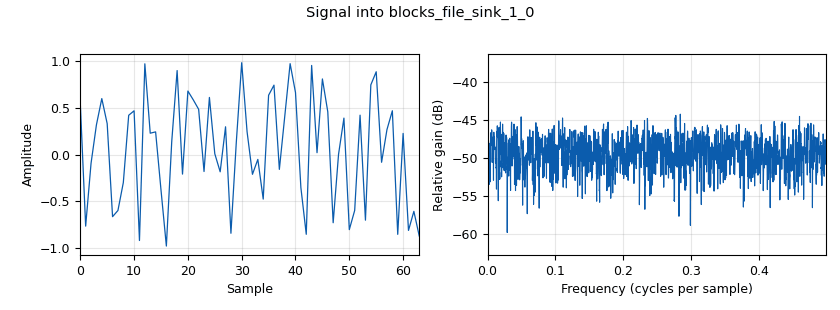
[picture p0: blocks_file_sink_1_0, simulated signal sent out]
options:
  parameters:
    author: ipovaric
    generate_options: qt_gui
    id: Lab6Test
    output_language: python
    title: myprog
  states: {}

blocks:
- name: samp_rate
  id: variable
  parameters:
    value: '32000'
  states: {}
- name: variable_0
  id: variable
  parameters:
    value: '0'
  states: {}
- name: analog_noise_source_x_0
  id: analog_noise_source_x
  parameters:
    amp: '1'
    noise_type: analog.GR_UNIFORM
    seed: '0'
    type: float
  states: {}
- name: blocks_file_sink_1
  id: blocks_file_sink
  parameters:
    file: received.txt
    type: byte
  states: {}
- name: blocks_file_sink_1_0
  id: blocks_file_sink
  parameters:
    file: sent.txt
    type: float
  states: {}
- name: blocks_throttle_0
  id: blocks_throttle
  parameters:
    samples_per_second: samp_rate
    type: float
  states: {}
- name: demo_pkt_framer_0
  id: demo_pkt_framer
  parameters:
    payload_size: '1'
  states: {}
- name: parameter_0
  id: parameter
  parameters:
    value: '0'
  states: {}

connections:
- [analog_noise_source_x_0, '0', blocks_file_sink_1_0, '0']
- [analog_noise_source_x_0, '0', blocks_throttle_0, '0']
- [blocks_throttle_0, '0', demo_pkt_framer_0, '0']
- [demo_pkt_framer_0, '0', blocks_file_sink_1, '0']

metadata:
  file_format: 1
